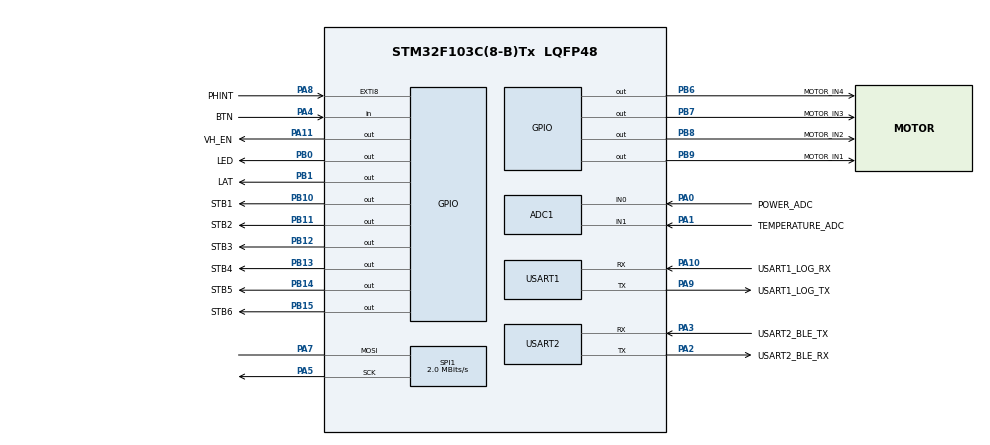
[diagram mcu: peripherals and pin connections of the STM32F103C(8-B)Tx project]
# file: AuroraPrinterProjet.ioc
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ADC1.Channel-0\#ChannelRegularConversion=ADC_CHANNEL_0
ADC1.Channel-1\#ChannelRegularConversion=ADC_CHANNEL_1
ADC1.ContinuousConvMode=DISABLE
ADC1.DiscontinuousConvMode=ENABLE
ADC1.NbrOfConversion=2
ADC1.NbrOfConversionFlag=1
ADC1.Rank-0\#ChannelRegularConversion=1
ADC1.Rank-1\#ChannelRegularConversion=2
ADC1.SamplingTime-0\#ChannelRegularConversion=ADC_SAMPLETIME_239CYCLES_5
ADC1.SamplingTime-1\#ChannelRegularConversion=ADC_SAMPLETIME_239CYCLES_5
ADC1.master=1
FREERTOS.Tasks01=defaultTask,0,128,StartDefaultTask,Default,NULL,Dynamic,NULL,NULL
FREERTOS.configTOTAL_HEAP_SIZE=4072
FREERTOS.configUSE_TIMERS=1
Mcu.Family=STM32F1
Mcu.Name=STM32F103C(8-B)Tx
Mcu.Package=LQFP48
NVIC.PriorityGroup=NVIC_PRIORITYGROUP_4
NVIC.TIM4_IRQn=true\:15\:0\:false\:false\:true\:false\:false\:true\:true
NVIC.TimeBase=TIM4_IRQn
NVIC.TimeBaseIP=TIM4
PA0-WKUP.GPIO_Label=POWER_ADC
PA0-WKUP.Signal=ADCx_IN0
PA1.GPIO_Label=TEMPERATURE_ADC
PA1.Signal=ADCx_IN1
PA10.GPIO_Label=USART1_LOG_RX
PA10.Mode=Asynchronous
PA10.Signal=USART1_RX
PA11.GPIO_Label=VH_EN
PA11.Signal=GPIO_Output
PA13.Mode=Serial_Wire
PA13.Signal=SYS_JTMS-SWDIO
PA14.Mode=Serial_Wire
PA14.Signal=SYS_JTCK-SWCLK
PA2.GPIO_Label=USART2_BLE_RX
PA2.Mode=Asynchronous
PA2.Signal=USART2_TX
PA3.GPIO_Label=USART2_BLE_TX
PA3.Mode=Asynchronous
PA3.Signal=USART2_RX
PA4.GPIO_Label=BTN
PA4.GPIO_PuPd=GPIO_PULLUP
PA4.Signal=GPIO_Input
PA5.Mode=Simplex_Bidirectional_Master
PA5.Signal=SPI1_SCK
PA7.Mode=Simplex_Bidirectional_Master
PA7.Signal=SPI1_MOSI
PA8.GPIO_Label=PHINT
PA8.Signal=GPXTI8
PA9.GPIO_Label=USART1_LOG_TX
PA9.Mode=Asynchronous
PA9.Signal=USART1_TX
PB0.GPIO_Label=LED
PB0.GPIO_PuPd=GPIO_PULLUP
PB0.Signal=GPIO_Output
PB1.GPIO_Label=LAT
PB1.GPIO_PuPd=GPIO_PULLUP
PB1.Signal=GPIO_Output
PB10.GPIO_Label=STB1
PB10.Signal=GPIO_Output
PB11.GPIO_Label=STB2
PB11.Signal=GPIO_Output
PB12.GPIO_Label=STB3
PB12.Signal=GPIO_Output
PB13.GPIO_Label=STB4
PB13.Signal=GPIO_Output
PB14.GPIO_Label=STB5
PB14.Signal=GPIO_Output
PB15.GPIO_Label=STB6
PB15.Signal=GPIO_Output
PB6.GPIO_Label=MOTOR_IN4
PB6.Signal=GPIO_Output
PB7.GPIO_Label=MOTOR_IN3
PB7.Signal=GPIO_Output
PB8.GPIO_Label=MOTOR_IN2
PB8.Signal=GPIO_Output
PB9.GPIO_Label=MOTOR_IN1
PB9.Signal=GPIO_Output
PD0-OSC_IN.Mode=HSE-External-Oscillator
PD0-OSC_IN.Signal=RCC_OSC_IN
PD1-OSC_OUT.Mode=HSE-External-Oscillator
PD1-OSC_OUT.Signal=RCC_OSC_OUT
ProjectManager.HeapSize=0x200
ProjectManager.StackSize=0x400
ProjectManager.TargetToolchain=MDK-ARM V5.27
RCC.APB1Freq_Value=8000000
RCC.APB2Freq_Value=8000000
SH.ADCx_IN0.0=ADC1_IN0,IN0
SH.ADCx_IN1.0=ADC1_IN1,IN1
SPI1.BaudRatePrescaler=SPI_BAUDRATEPRESCALER_4
SPI1.CalculateBaudRate=2.0 MBits/s
SPI1.Direction=SPI_DIRECTION_1LINE
SPI1.Mode=SPI_MODE_MASTER
SPI1.VirtualType=VM_MASTER
TIM1.Prescaler=71
USART1.VirtualMode=VM_ASYNC
USART2.VirtualMode=VM_ASYNC
VP_FREERTOS_VS_CMSIS_V1.Mode=CMSIS_V1
VP_SYS_VS_tim4.Mode=TIM4
VP_TIM1_VS_ClockSourceINT.Mode=Internal
board=custom

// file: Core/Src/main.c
/* USER CODE BEGIN Header */
/**
  ******************************************************************************
  * @file           : main.c
  * @brief          : Main program body
  ******************************************************************************
  * @attention
  *
  * Copyright (c) 2023 STMicroelectronics.
  * All rights reserved.
  *
  * This software is licensed under terms that can be found in the LICENSE file
  * in the root directory of this software component.
  * If no LICENSE file comes with this software, it is provided AS-IS.
  *
  ******************************************************************************
  */
/* USER CODE END Header */
#include <stdio.h>
#include "main.h"
#include "cmsis_os.h"
#include "adc.h"
#include "spi.h"
#include "tim.h"
#include "usart.h"
#include "gpio.h"
#include "Debug.h"
#include "Au_Adc.h"

void SystemClock_Config(void);
void MX_FREERTOS_Init(void);

/* USER CODE BEGIN 0 */
osTimerId myTest;

/*
  * @brief  测试定时器
  * @param  none
  * @return none
  * @note   none
 */
void myTestTimer_Cb(void const * arg)
{
    static uint8_t cnt = 0;
    printf("cnt = %d", cnt++);
}

void test(void)
{
    osTimerDef(testTimer, myTestTimer_Cb);
    myTest = osTimerCreate(osTimer(testTimer), osTimerPeriodic, NULL);

    osTimerStart(myTest, 1000);
}

/*
  * @brief  每按一下, 变动一步
  * @param  none
  * @return none
  * @note   none
 */
void task_test(void * arg)
{
    //HAL_GPIO_WritePin(LED_GPIO_Port, LED_Pin, GPIO_PIN_RESET);
    PRINT_DEBUG("TaskTest:");
    Init_Adc();

    int TempData;

//    uint8_t pos = 0;

    while (1) {
        TempData = Get_Adc_Volts();
        Au_Adc_Test();

        /*
        PRINT_INFO("%s", PosMap[pos]);
        pos++;
        if (pos >= 8) {
            pos = 0;
        }
        vTaskDelay(500);
        */

        //PRINT_DEBUG("task_test_while");

        /*
        if (HAL_GPIO_ReadPin(STB2_GPIO_Port, STB2_Pin) == GPIO_PIN_RESET) {
        HAL_Delay(20);
        while (HAL_GPIO_ReadPin(STB2_GPIO_Port, STB2_Pin) == GPIO_PIN_RESET);
            PRINT_INFO("Button OK!");
            //Motor_Run();
        }
        */

        //PRINT_DEBUG("STB2_PIN: %d", HAL_GPIO_ReadPin(STB2_GPIO_Port, STB2_Pin));
        vTaskDelay(500);
    }
}

/*
  * @brief  串口重定向至printf
  * @param  ch:输出字符 , f:文件指针
  * @return ch:输出字符
  * @note   none
 */
int fputc(int ch, FILE *f)
{
    uint8_t temp[1] = {ch};
    HAL_UART_Transmit(&huart1, temp, 1, 2);
    return ch;
}

/* USER CODE END 0 */

int main(void)
{

  /* MCU Configuration--------------------------------------------------------*/

  /* Reset of all peripherals, Initializes the Flash interface and the Systick. */
  HAL_Init();

  /* Configure the system clock */
  SystemClock_Config();

  /* Initialize all configured peripherals */
  MX_GPIO_Init();
  MX_ADC1_Init();
  MX_SPI1_Init();
  MX_TIM1_Init();
  MX_USART1_UART_Init();
  MX_USART2_UART_Init();
  /* USER CODE BEGIN 2 */

  HAL_GPIO_WritePin(GPIOA, LED_Pin, GPIO_PIN_SET);

  /* USER CODE END 2 */

  /* Call init function for freertos objects (in freertos.c) */
  MX_FREERTOS_Init();
  PRINT_DEBUG("Debug no error!");

  /*
  Motor_Run();
  uint8_t i = Get_Phase();
  if (i != 8)
      PRINT_INFO("%s", PosMap[i]);
  else
      PRINT_INFO("error: %d", i);
  */

  //PRINT_DEBUG("test start!");
  //test();

  xTaskCreate(task_test, "test", 128, NULL, 1, NULL);
  //xTaskCreate(Task_Display, "display", 128, NULL, 1, NULL);

  /* Start scheduler */
  osKernelStart();

  /* We should never get here as control is now taken by the scheduler */
  /* Infinite loop */
  while (1)
  {

  }
}

void SystemClock_Config(void)
{
  RCC_OscInitTypeDef RCC_OscInitStruct = {0};
  RCC_ClkInitTypeDef RCC_ClkInitStruct = {0};
  RCC_PeriphCLKInitTypeDef PeriphClkInit = {0};

  /** Initializes the RCC Oscillators according to the specified parameters
  * in the RCC_OscInitTypeDef structure.
  */
  RCC_OscInitStruct.OscillatorType = RCC_OSCILLATORTYPE_HSI;
  RCC_OscInitStruct.HSIState = RCC_HSI_ON;
  RCC_OscInitStruct.HSICalibrationValue = RCC_HSICALIBRATION_DEFAULT;
  RCC_OscInitStruct.PLL.PLLState = RCC_PLL_NONE;
  if (HAL_RCC_OscConfig(&RCC_OscInitStruct) != HAL_OK)
  {
    Error_Handler();
  }

  /** Initializes the CPU, AHB and APB buses clocks
  */
  RCC_ClkInitStruct.ClockType = RCC_CLOCKTYPE_HCLK|RCC_CLOCKTYPE_SYSCLK
                              |RCC_CLOCKTYPE_PCLK1|RCC_CLOCKTYPE_PCLK2;
  RCC_ClkInitStruct.SYSCLKSource = RCC_SYSCLKSOURCE_HSI;
  RCC_ClkInitStruct.AHBCLKDivider = RCC_SYSCLK_DIV1;
  RCC_ClkInitStruct.APB1CLKDivider = RCC_HCLK_DIV1;
  RCC_ClkInitStruct.APB2CLKDivider = RCC_HCLK_DIV1;

  if (HAL_RCC_ClockConfig(&RCC_ClkInitStruct, FLASH_LATENCY_0) != HAL_OK)
  {
    Error_Handler();
  }
  PeriphClkInit.PeriphClockSelection = RCC_PERIPHCLK_ADC;
  PeriphClkInit.AdcClockSelection = RCC_ADCPCLK2_DIV2;
  if (HAL_RCCEx_PeriphCLKConfig(&PeriphClkInit) != HAL_OK)
  {
    Error_Handler();
  }
}

void HAL_TIM_PeriodElapsedCallback(TIM_HandleTypeDef *htim)
{
  if (htim->Instance == TIM4) {
    HAL_IncTick();
  }
}

void Error_Handler(void)
{
  __disable_irq();
  while (1)
  {
  }
}

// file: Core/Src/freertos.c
/* USER CODE BEGIN Header */
/**
  ******************************************************************************
  * File Name          : freertos.c
  * Description        : Code for freertos applications
  ******************************************************************************
  * @attention
  *
  * Copyright (c) 2023 STMicroelectronics.
  * All rights reserved.
  *
  * This software is licensed under terms that can be found in the LICENSE file
  * in the root directory of this software component.
  * If no LICENSE file comes with this software, it is provided AS-IS.
  *
  ******************************************************************************
  */
/* USER CODE END Header */

#include "FreeRTOS.h"
#include "task.h"
#include "main.h"
#include "cmsis_os.h"

osThreadId defaultTaskHandle;

void StartDefaultTask(void const * argument);

void MX_FREERTOS_Init(void); /* (MISRA C 2004 rule 8.1) */

/* GetIdleTaskMemory prototype (linked to static allocation support) */
void vApplicationGetIdleTaskMemory( StaticTask_t **ppxIdleTaskTCBBuffer, StackType_t **ppxIdleTaskStackBuffer, uint32_t *pulIdleTaskStackSize );

/* GetTimerTaskMemory prototype (linked to static allocation support) */
void vApplicationGetTimerTaskMemory( StaticTask_t **ppxTimerTaskTCBBuffer, StackType_t **ppxTimerTaskStackBuffer, uint32_t *pulTimerTaskStackSize );

/* USER CODE BEGIN GET_IDLE_TASK_MEMORY */
static StaticTask_t xIdleTaskTCBBuffer;
static StackType_t xIdleStack[configMINIMAL_STACK_SIZE];

void vApplicationGetIdleTaskMemory( StaticTask_t **ppxIdleTaskTCBBuffer, StackType_t **ppxIdleTaskStackBuffer, uint32_t *pulIdleTaskStackSize )
{
  *ppxIdleTaskTCBBuffer = &xIdleTaskTCBBuffer;
  *ppxIdleTaskStackBuffer = &xIdleStack[0];
  *pulIdleTaskStackSize = configMINIMAL_STACK_SIZE;
  /* place for user code */
}
/* USER CODE END GET_IDLE_TASK_MEMORY */

/* USER CODE BEGIN GET_TIMER_TASK_MEMORY */
static StaticTask_t xTimerTaskTCBBuffer;
static StackType_t xTimerStack[configTIMER_TASK_STACK_DEPTH];

void vApplicationGetTimerTaskMemory( StaticTask_t **ppxTimerTaskTCBBuffer, StackType_t **ppxTimerTaskStackBuffer, uint32_t *pulTimerTaskStackSize )
{
  *ppxTimerTaskTCBBuffer = &xTimerTaskTCBBuffer;
  *ppxTimerTaskStackBuffer = &xTimerStack[0];
  *pulTimerTaskStackSize = configTIMER_TASK_STACK_DEPTH;
  /* place for user code */
}
/* USER CODE END GET_TIMER_TASK_MEMORY */

void MX_FREERTOS_Init(void) {

  /* Create the thread(s) */
  /* definition and creation of defaultTask */
  osThreadDef(defaultTask, StartDefaultTask, osPriorityNormal, 0, 128);
  defaultTaskHandle = osThreadCreate(osThread(defaultTask), NULL);

}

void StartDefaultTask(void const * argument)
{
  for(;;)
  {
    osDelay(1);
  }
}
